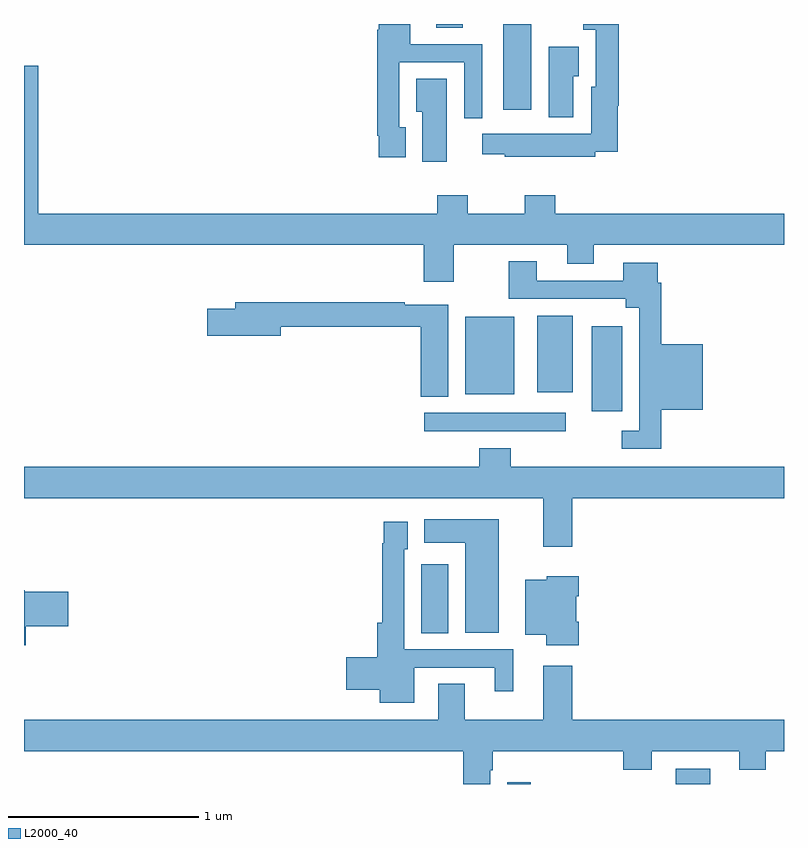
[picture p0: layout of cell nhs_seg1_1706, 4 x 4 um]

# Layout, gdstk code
import gdstk
lib = gdstk.Library(unit=1e-6, precision=1e-09)
def R(c, l, rs):  # rectangles x0, y0, x1, y1
    for r in rs: c.add(gdstk.rectangle(r[:2], r[2:], *l))
def P(c, l, *ps):  # polygons
    for p in ps: c.add(gdstk.Polygon(p, *l))
L2000_40 = (2000, 40)

nhs_seg1_1706 = lib.new_cell('nhs_seg1_1706')
R(nhs_seg1_1706, L2000_40, [(205.544,578.199,205.666,578.209), (206.43,578.199,206.611,578.278), (205.091,578.992,205.234,579.355), (205.107,580.056,205.852,580.152), (205.988,580.161,206.149,580.609), (205.322,580.25,205.579,580.657), (205.7,580.262,205.888,580.663), (205.523,581.748,205.669,582.199), (205.169,582.178,205.309,582.199)])
P(nhs_seg1_1706, L2000_40, [(206.006,581.526),(206.126,581.526),(206.126,581.768),(206.131,581.768),(206.131,582.199),(205.944,582.199),(205.944,582.17),(206.009,582.17),(206.009,581.868),(205.985,581.868),(205.985,581.622),(205.413,581.622),(205.413,581.514),(205.53,581.514),(205.53,581.501),(206.006,581.501)],
  [(205.009,581.655),(204.975,581.655),(204.975,581.997),(205.317,581.997),(205.317,581.703),(205.413,581.703),(205.413,582.093),(205.033,582.093),(205.033,582.199),(204.866,582.199),(204.866,582.17),(204.859,582.17),(204.859,581.611),(204.867,581.611),(204.867,581.499),(205.009,581.499)],
  [(205.891,581.923),(205.921,581.923),(205.921,582.079),(205.763,582.079),(205.763,581.708),(205.891,581.708)],
  [(205.263,581.036),(205.859,581.036),(205.859,580.937),(205.999,580.937),(205.999,581.036),(207,581.036),(207,581.2),(205.796,581.2),(205.796,581.299),(205.636,581.299),(205.636,581.2),(205.335,581.2),(205.335,581.299),(205.175,581.299),(205.175,581.2),(203.075,581.2),(203.075,581.98),(203,581.98),(203,581.036),(205.103,581.036),(205.103,580.842),(205.263,580.842)],
  [(205.225,581.912),(205.064,581.912),(205.064,581.738),(205.097,581.738),(205.097,581.475),(205.225,581.475)],
  [(206.354,580.169),(206.572,580.169),(206.572,580.513),(206.354,580.513),(206.354,580.838),(206.335,580.838),(206.335,580.942),(206.153,580.942),(206.153,580.848),(205.699,580.848),(205.699,580.951),(205.552,580.951),(205.552,580.752),(206.168,580.752),(206.168,580.706),(206.238,580.706),(206.238,580.409),(206.237,580.409),(206.237,580.059),(206.145,580.059),(206.145,579.963),(206.354,579.963)],
  [(205.234,580.722),(205.004,580.722),(205.004,580.735),(204.113,580.735),(204.113,580.701),(203.964,580.701),(203.964,580.559),(204.352,580.559),(204.352,580.606),(205.088,580.606),(205.088,580.237),(205.234,580.237)],
  [(205.886,579.704),(207,579.704),(207,579.868),(205.562,579.868),(205.562,579.967),(205.397,579.967),(205.397,579.868),(203,579.868),(203,579.704),(205.733,579.704),(205.733,579.447),(205.886,579.447)],
  [(205.498,579.592),(205.106,579.592),(205.106,579.47),(205.322,579.47),(205.322,578.996),(205.498,578.996)],
  [(205.054,578.811),(205.478,578.811),(205.478,578.688),(205.576,578.688),(205.576,578.907),(205.002,578.907),(205.002,579.435),(205.021,579.435),(205.021,579.58),(204.894,579.58),(204.894,579.467),(204.886,579.467),(204.886,579.049),(204.86,579.049),(204.86,578.867),(204.696,578.867),(204.696,578.696),(204.872,578.696),(204.872,578.627),(205.054,578.627)],
  [(205.919,579.052),(205.906,579.052),(205.906,579.188),(205.919,579.188),(205.919,579.292),(205.752,579.292),(205.752,579.274),(205.637,579.274),(205.637,578.984),(205.748,578.984),(205.748,578.93),(205.919,578.93)],
  [(203.008,579.029),(203.233,579.029),(203.233,579.212),(203.004,579.212),(203.004,579.22),(203,579.22),(203,578.93),(203.008,578.93)],
  [(205.453,578.271),(205.466,578.271),(205.466,578.372),(206.153,578.372),(206.153,578.273),(206.305,578.273),(206.305,578.372),(206.765,578.372),(206.765,578.273),(206.905,578.273),(206.905,578.372),(207,578.372),(207,578.536),(205.886,578.536),(205.886,578.821),(205.733,578.821),(205.733,578.536),(205.321,578.536),(205.321,578.726),(205.181,578.726),(205.181,578.536),(203,578.536),(203,578.372),(205.313,578.372),(205.313,578.199),(205.453,578.199)])

lib.write_gds('nhs_seg1_1706.gds')
